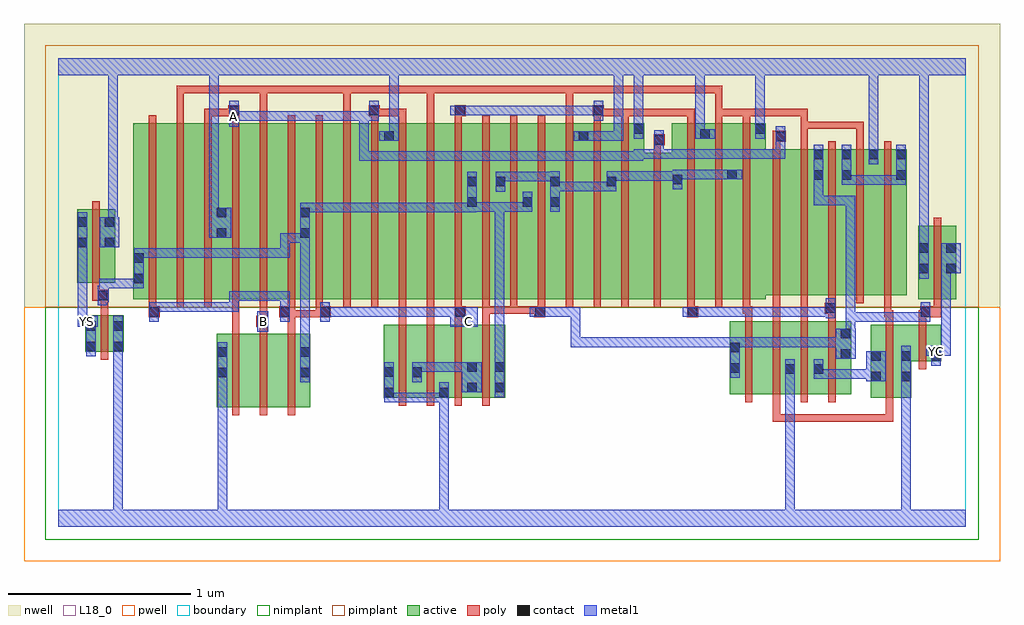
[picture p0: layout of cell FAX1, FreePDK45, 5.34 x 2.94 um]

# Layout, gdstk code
import gdstk
lib = gdstk.Library(unit=1e-6, precision=1e-09)
def R(c, l, rs):  # rectangles x0, y0, x1, y1
    for r in rs: c.add(gdstk.rectangle(r[:2], r[2:], *l))
def A(c, l, x, y, w, h, nx, ny, dx, dy):  # array of equal rectangles
    R(c, l, [(x+i*dx, y+j*dy, x+i*dx+w, y+j*dy+h) for i in range(nx) for j in range(ny)])
active = (1, 0)
pwell = (2, 0)
nwell = (3, 0)
nimplant = (4, 0)
pimplant = (5, 0)
poly = (9, 0)
contact = (10, 0)
metal1 = (11, 0)
L18_0 = (18, 0)
boundary = (235, 0)

fax1 = lib.new_cell('FAX1')
A(fax1, active, 0.59, 1.244, 0.152, 0.96, 4, 1, 0.456, 0)
R(fax1, active, [(0.866,0.654,0.926,1.054), (0.866,0.654,1.046,1.054), (1.046,0.654,1.198,1.054), (1.198,0.654,1.378,1.054), (1.318,0.654,1.378,1.054), (1.778,0.704,1.838,1.104), (1.778,0.704,1.99,1.104), (1.93,0.704,2.138,1.104), (2.078,0.704,2.29,1.104), (2.078,0.704,2.138,0.828), (2.23,0.704,2.29,1.104), (2.23,0.704,2.442,1.104), (2.382,0.704,2.442,1.104), (4.44,0.704,4.5,1.104), (4.44,0.704,4.664,1.104), (4.604,0.704,4.664,1.104), (3.67,0.724,3.73,1.124), (3.67,0.724,3.85,1.124), (3.85,0.724,4.03,1.124), (3.97,0.724,4.03,1.124), (3.97,0.724,4.186,1.124), (4.126,0.724,4.334,1.124), (4.274,0.724,4.334,1.124), (1.93,0.756,1.99,0.874), (4.126,0.756,4.186,0.892), (4.604,0.904,4.828,1.104), (4.768,0.904,4.828,1.104), (0.148,0.956,0.208,1.156), (0.148,0.956,0.356,1.156), (0.296,0.956,0.356,1.156), (0.41,1.244,0.59,2.204), (0.41,1.244,0.47,2.204), (0.742,1.244,0.922,2.204), (0.862,1.244,1.046,2.204), (1.198,1.244,1.378,2.204), (1.318,1.244,1.378,2.204), (1.318,1.244,1.502,2.204), (1.654,1.244,1.838,2.204), (1.778,1.244,1.958,2.204), (1.778,1.244,1.838,2.204), (2.11,1.244,2.29,2.204), (2.23,1.244,2.446,2.204), (2.23,1.244,2.29,2.192), (2.386,1.244,2.594,2.204), (2.386,1.244,2.446,2.192), (2.534,1.244,2.746,2.204), (2.534,1.244,2.594,2.088), (2.686,1.244,2.902,2.204), (2.686,1.244,2.746,2.192), (2.842,1.244,3.054,2.204), (2.994,1.244,3.202,2.204), (3.142,1.244,3.414,2.044), (3.354,1.244,3.566,2.204), (3.506,1.244,3.714,2.204), (3.654,1.244,3.866,2.204), (4.702,1.244,4.762,1.644), (4.702,1.244,4.91,1.644), (4.85,1.244,4.91,1.644), (3.806,1.264,4.002,2.064), (4.002,1.264,4.186,2.064), (4.126,1.264,4.186,2.064), (4.126,1.264,4.338,2.064), (4.278,1.264,4.486,2.064), (4.426,1.264,4.486,2.064), (4.426,1.264,4.638,2.064), (4.578,1.264,4.638,2.064), (4.278,1.302,4.338,2.064), (0.102,1.334,0.162,1.734), (0.102,1.334,0.31,1.734), (0.25,1.334,0.31,1.696), (2.994,1.384,3.054,2.088), (3.506,1.384,3.566,2.204), (0.862,1.39,0.922,2.204), (3.142,1.43,3.202,2.204), (3.354,1.43,3.414,2.204), (2.842,1.49,2.902,2.204), (3.654,1.49,3.714,2.204), (3.806,1.5,3.866,2.204)])
R(fax1, pwell, [(-0.188,-0.188,5.148,1.2)])
R(fax1, nwell, [(-0.188,1.2,5.148,2.748)])
R(fax1, nimplant, [(-0.072,-0.072,5.032,1.2)])
R(fax1, pimplant, [(-0.072,1.2,5.032,2.632)])
A(fax1, poly, 0.95, 0.61, 0.04, 0.488, 3, 1, 0.152, 0)
A(fax1, poly, 1.862, 0.66, 0.04, 0.488, 4, 1, 0.152, 0)
A(fax1, poly, 3.754, 0.68, 0.04, 0.488, 4, 1, 0.152, 0)
A(fax1, poly, 1.862, 1.164, 0.04, 0.076, 6, 1, 0.152, 0)
A(fax1, poly, 0.494, 1.2, 0.04, 1.048, 18, 1, 0.152, 0)
A(fax1, poly, 3.438, 1.2, 0.04, 1.048, 3, 1, 0.152, 0)
A(fax1, poly, 3.906, 1.22, 0.04, 0.888, 5, 1, 0.152, 0)
A(fax1, poly, 0.646, 2.208, 0.04, 0.202, 4, 1, 0.456, 0)
A(fax1, poly, 3.438, 2.208, 0.04, 0.076, 3, 1, 0.152, 0)
R(fax1, poly, [(3.906,0.574,3.946,0.614), (3.906,0.574,3.946,0.72), (3.906,0.574,4.124,0.614), (4.084,0.574,4.124,0.614), (4.084,0.574,4.124,0.614), (4.084,0.574,4.124,0.614), (4.084,0.574,4.296,0.614), (4.256,0.574,4.296,0.614), (4.256,0.574,4.296,0.614), (4.256,0.574,4.296,0.614), (4.256,0.574,4.402,0.614), (4.362,0.574,4.402,0.614), (4.362,0.574,4.402,0.614), (4.362,0.574,4.402,0.614), (4.362,0.574,4.564,0.614), (4.524,0.574,4.564,0.614), (4.524,0.574,4.564,0.614), (4.524,0.574,4.564,0.614), (4.524,0.574,4.564,0.7), (4.524,0.66,4.564,1.148), (4.704,0.86,4.744,1.148), (0.232,0.912,0.272,1.2), (0.95,1.058,0.99,1.204), (1.102,1.058,1.142,1.134), (1.254,1.058,1.294,1.184), (1.082,1.094,1.142,1.154), (1.862,1.108,1.902,1.204), (2.014,1.108,2.054,1.204), (2.166,1.108,2.206,1.184), (2.318,1.108,2.358,1.204), (4.524,1.108,4.564,1.184), (4.704,1.108,4.744,1.184), (1.102,1.114,1.142,1.154), (1.102,1.114,1.142,1.154), (1.102,1.114,1.142,1.24), (3.754,1.128,3.794,1.204), (3.906,1.128,3.946,1.204), (4.058,1.128,4.098,1.224), (4.21,1.128,4.25,1.204), (0.494,1.144,0.554,1.204), (1.208,1.144,1.294,1.204), (1.254,1.144,1.294,1.184), (1.254,1.144,1.294,1.184), (1.254,1.144,1.294,1.184), (1.254,1.144,1.294,1.184), (1.254,1.144,1.446,1.184), (1.406,1.144,1.488,1.204), (2.166,1.144,2.206,1.184), (2.166,1.144,2.206,1.184), (2.166,1.144,2.226,1.204), (2.602,1.144,2.662,1.204), (3.438,1.144,3.498,1.204), (4.514,1.144,4.554,1.184), (4.514,1.144,4.554,1.184), (4.514,1.144,4.554,1.26), (4.514,1.144,4.564,1.184), (4.704,1.144,4.752,1.184), (4.712,1.144,4.752,1.184), (4.712,1.144,4.826,1.204), (0.232,1.16,0.272,1.274), (0.494,1.164,0.534,1.24), (0.95,1.164,0.99,1.24), (0.95,1.164,0.99,1.204), (0.95,1.164,0.99,1.204), (0.95,1.164,0.99,1.204), (1.254,1.164,1.294,1.24), (1.406,1.164,1.446,1.24), (1.862,1.164,1.902,1.204), (1.862,1.164,1.902,1.204), (1.862,1.164,1.902,1.204), (2.014,1.164,2.054,1.204), (2.014,1.164,2.054,1.204), (2.014,1.164,2.054,1.204), (2.318,1.164,2.358,1.204), (2.318,1.164,2.358,1.204), (2.318,1.164,2.358,1.204), (2.318,1.164,2.51,1.204), (2.47,1.164,2.51,1.204), (2.47,1.164,2.51,1.204), (2.47,1.164,2.51,1.204), (2.47,1.164,2.642,1.204), (2.602,1.164,2.642,1.204), (2.602,1.164,2.642,1.204), (3.438,1.164,3.478,1.24), (3.742,1.164,3.782,1.24), (3.742,1.164,3.782,1.204), (3.742,1.164,3.782,1.204), (3.742,1.164,3.794,1.204), (3.906,1.164,3.946,1.204), (3.906,1.164,3.946,1.204), (3.906,1.164,3.946,1.204), (3.906,1.164,3.946,1.26), (4.19,1.164,4.25,1.224), (4.21,1.164,4.25,1.204), (4.21,1.164,4.25,1.204), (4.786,1.164,4.826,1.24), (4.058,1.184,4.098,1.26), (4.058,1.184,4.098,1.224), (4.058,1.184,4.098,1.224), (4.058,1.184,4.098,1.224), (4.21,1.184,4.25,1.26), (3.254,1.2,3.294,2.088), (4.786,1.2,4.826,1.688), (0.186,1.234,0.272,1.294), (0.232,1.234,0.272,1.274), (0.232,1.234,0.272,1.274), (0.186,1.254,0.226,1.33), (0.186,1.29,0.226,1.778), (3.254,2.048,3.294,2.124), (3.906,2.068,3.946,2.144), (4.058,2.068,4.098,2.214), (4.362,2.068,4.402,2.214), (3.254,2.084,3.314,2.144), (3.906,2.104,3.978,2.164), (4.058,2.174,4.098,2.214), (4.058,2.174,4.098,2.214), (4.058,2.174,4.098,2.214), (4.058,2.174,4.296,2.214), (4.058,2.174,4.098,2.284), (4.256,2.174,4.296,2.214), (4.256,2.174,4.296,2.214), (4.256,2.174,4.296,2.214), (4.256,2.174,4.402,2.214), (4.362,2.174,4.402,2.214), (4.362,2.174,4.402,2.214), (4.362,2.174,4.402,2.214), (0.798,2.208,0.838,2.284), (0.95,2.208,0.99,2.284), (1.71,2.208,1.75,2.284), (1.862,2.208,1.902,2.284), (2.166,2.208,2.206,2.284), (2.774,2.208,2.814,2.41), (2.926,2.208,2.966,2.284), (3.078,2.208,3.118,2.284), (0.798,2.244,0.838,2.284), (0.798,2.244,0.97,2.284), (0.93,2.244,0.97,2.284), (0.93,2.244,0.97,2.284), (0.93,2.244,0.99,2.304), (1.696,2.244,1.756,2.304), (1.716,2.244,1.902,2.284), (1.862,2.244,1.902,2.284), (1.862,2.244,1.902,2.284), (1.862,2.244,1.902,2.284), (2.166,2.244,2.226,2.304), (2.922,2.244,2.982,2.304), (2.942,2.244,2.982,2.284), (2.942,2.244,2.982,2.284), (2.942,2.244,3.118,2.284), (3.078,2.244,3.118,2.284), (3.078,2.244,3.224,2.284), (3.184,2.244,3.224,2.284), (3.184,2.244,3.224,2.284), (3.184,2.244,3.224,2.284), (3.184,2.244,3.478,2.284), (3.438,2.244,3.478,2.284), (3.438,2.244,3.478,2.284), (3.438,2.244,3.478,2.284), (3.59,2.244,3.63,2.284), (3.59,2.244,3.63,2.284), (3.59,2.244,3.63,2.284), (3.59,2.244,3.782,2.284), (3.59,2.244,3.63,2.41), (3.742,2.244,3.782,2.284), (3.742,2.244,3.782,2.284), (3.742,2.244,3.782,2.284), (3.742,2.244,3.888,2.284), (3.848,2.244,3.888,2.284), (3.848,2.244,3.888,2.284), (3.848,2.244,3.888,2.284), (3.848,2.244,3.888,2.284), (3.848,2.244,3.888,2.284), (3.848,2.244,4.098,2.284), (4.058,2.244,4.098,2.284), (0.646,2.37,0.686,2.41), (0.646,2.37,0.686,2.41), (0.646,2.37,0.686,2.41), (0.646,2.37,0.686,2.41), (0.646,2.37,0.686,2.41), (0.646,2.37,0.792,2.41), (0.752,2.37,0.792,2.41), (0.752,2.37,0.97,2.41), (0.93,2.37,0.97,2.41), (0.93,2.37,0.97,2.41), (0.93,2.37,0.97,2.41), (0.93,2.37,1.076,2.41), (1.036,2.37,1.076,2.41), (1.036,2.37,1.142,2.41), (1.102,2.37,1.142,2.41), (1.102,2.37,1.142,2.41), (1.102,2.37,1.142,2.41), (1.102,2.37,1.182,2.41), (1.142,2.37,1.182,2.41), (1.142,2.37,1.34,2.41), (1.3,2.37,1.34,2.41), (1.3,2.37,1.34,2.41), (1.3,2.37,1.34,2.41), (1.3,2.37,1.492,2.41), (1.452,2.37,1.492,2.41), (1.452,2.37,1.492,2.41), (1.452,2.37,1.492,2.41), (1.452,2.37,1.598,2.41), (1.558,2.37,1.598,2.41), (1.558,2.37,1.598,2.41), (1.558,2.37,1.598,2.41), (1.558,2.37,1.598,2.41), (1.558,2.37,1.598,2.41), (1.558,2.37,1.704,2.41), (1.664,2.37,1.704,2.41), (1.664,2.37,1.704,2.41), (1.664,2.37,1.704,2.41), (1.664,2.37,1.862,2.41), (1.822,2.37,1.862,2.41), (1.822,2.37,2.054,2.41), (2.014,2.37,2.054,2.41), (2.014,2.37,2.054,2.41), (2.014,2.37,2.054,2.41), (2.014,2.37,2.054,2.41), (2.014,2.37,2.054,2.41), (2.014,2.37,2.16,2.41), (2.12,2.37,2.16,2.41), (2.12,2.37,2.16,2.41), (2.12,2.37,2.16,2.41), (2.12,2.37,2.404,2.41), (2.364,2.37,2.404,2.41), (2.364,2.37,2.404,2.41), (2.364,2.37,2.404,2.41), (2.364,2.37,2.536,2.41), (2.496,2.37,2.536,2.41), (2.496,2.37,2.536,2.41), (2.496,2.37,2.536,2.41), (2.496,2.37,2.664,2.41), (2.624,2.37,2.664,2.41), (2.624,2.37,2.664,2.41), (2.624,2.37,2.664,2.41), (2.624,2.37,2.77,2.41), (2.73,2.37,2.77,2.41), (2.73,2.37,2.77,2.41), (2.73,2.37,2.814,2.41), (2.774,2.37,2.814,2.41), (2.774,2.37,2.814,2.41), (2.774,2.37,2.876,2.41), (2.836,2.37,2.876,2.41), (2.836,2.37,2.92,2.41), (2.88,2.37,2.92,2.41), (2.88,2.37,2.982,2.41), (2.942,2.37,2.982,2.41), (2.942,2.37,3.088,2.41), (3.048,2.37,3.088,2.41), (3.048,2.37,3.088,2.41), (3.048,2.37,3.088,2.41), (3.048,2.37,3.33,2.41), (3.29,2.37,3.33,2.41), (3.29,2.37,3.33,2.41), (3.29,2.37,3.33,2.41), (3.29,2.37,3.436,2.41), (3.396,2.37,3.436,2.41), (3.396,2.37,3.63,2.41), (3.59,2.37,3.63,2.41)])
A(fax1, contact, 4.444, 0.908, 0.052, 0.052, 3, 1, 0.164, 0)
R(fax1, contact, [(1.782,0.708,1.834,0.76), (2.082,0.708,2.134,0.76), (2.234,0.734,2.286,0.786), (2.386,0.734,2.438,0.786), (4.444,0.796,4.496,0.848), (4.608,0.796,4.66,0.848), (0.87,0.816,0.922,0.868), (1.322,0.816,1.374,0.868), (1.934,0.818,1.986,0.87), (1.782,0.82,1.834,0.872), (3.974,0.836,4.026,0.888), (4.13,0.836,4.182,0.888), (3.674,0.842,3.726,0.894), (2.234,0.846,2.286,0.898), (2.386,0.846,2.438,0.898), (4.278,0.918,4.33,0.97), (0.87,0.928,0.922,0.98), (1.322,0.928,1.374,0.98), (3.674,0.954,3.726,1.006), (0.152,0.96,0.204,1.012), (0.3,0.96,0.352,1.012), (4.278,1.03,4.33,1.082), (0.152,1.072,0.204,1.124), (0.3,1.072,0.352,1.124), (1.086,1.098,1.138,1.15), (0.498,1.148,0.55,1.2), (1.212,1.148,1.264,1.2), (1.432,1.148,1.484,1.2), (2.17,1.148,2.222,1.2), (2.606,1.148,2.658,1.2), (3.442,1.148,3.494,1.2), (4.716,1.148,4.768,1.2), (4.194,1.168,4.246,1.22), (0.216,1.238,0.268,1.29), (0.414,1.33,0.466,1.382), (4.706,1.384,4.758,1.436), (4.854,1.384,4.906,1.436), (0.414,1.442,0.466,1.494), (4.706,1.496,4.758,1.548), (4.854,1.496,4.906,1.548), (0.106,1.528,0.158,1.58), (0.254,1.528,0.306,1.58), (0.866,1.58,0.918,1.632), (1.322,1.58,1.374,1.632), (0.106,1.64,0.158,1.692), (0.254,1.64,0.306,1.692), (0.866,1.692,0.918,1.744), (1.322,1.692,1.374,1.744), (2.234,1.748,2.286,1.8), (2.538,1.75,2.59,1.802), (2.69,1.75,2.742,1.802), (2.234,1.86,2.286,1.912), (2.39,1.86,2.442,1.912), (2.69,1.862,2.742,1.914), (2.998,1.862,3.05,1.914), (3.358,1.872,3.41,1.924), (4.13,1.896,4.182,1.948), (4.282,1.896,4.334,1.948), (4.582,1.896,4.634,1.948), (3.658,1.9,3.71,1.952), (4.13,2.008,4.182,2.06), (4.282,2.008,4.334,2.06), (4.43,2.008,4.482,2.06), (4.582,2.008,4.634,2.06), (3.258,2.088,3.31,2.14), (3.922,2.108,3.974,2.16), (1.782,2.11,1.834,2.162), (2.846,2.11,2.898,2.162), (3.51,2.12,3.562,2.172), (3.146,2.148,3.198,2.2), (3.81,2.148,3.862,2.2), (0.934,2.248,0.986,2.3), (1.7,2.248,1.752,2.3), (2.17,2.248,2.222,2.3), (2.926,2.248,2.978,2.3)])
A(fax1, metal1, 3.674, 0.982, 0.162, 0.052, 4, 1, 0.11, 0)
A(fax1, metal1, 3.894, 0.982, 0.052, 0.052, 3, 1, 0.11, 0)
A(fax1, metal1, 3.784, 1.148, 0.052, 0.052, 3, 1, 0.11, 0)
A(fax1, metal1, 3.784, 1.148, 0.162, 0.052, 3, 1, 0.11, 0)
A(fax1, metal1, 0.604, 1.176, 0.162, 0.052, 3, 1, 0.11, 0)
A(fax1, metal1, 2.816, 2, 0.052, 0.052, 3, 1, 0.11, 0)
A(fax1, metal1, 2.816, 2, 0.162, 0.052, 3, 1, 0.11, 0)
A(fax1, metal1, 1.102, 2.22, 0.162, 0.052, 3, 1, 0.11, 0)
R(fax1, metal1, [(0,0,4.96,0.092), (0.3,0.04,0.352,0.092), (0.3,0.04,0.352,0.092), (0.3,0.04,0.352,0.092), (0.3,0.04,0.352,0.092), (0.3,0.04,0.352,0.092), (0.3,0.04,0.352,0.092), (0.3,0.04,0.352,0.092), (0.3,0.04,0.352,0.092), (0.3,0.04,0.352,0.092), (0.3,0.04,0.352,0.092), (0.3,0.04,0.352,0.092), (0.3,0.04,0.352,0.092), (0.3,0.04,0.352,0.092), (0.3,0.04,0.352,0.092), (0.3,0.04,0.352,0.092), (0.3,0.04,0.352,0.092), (0.3,0.04,0.352,0.984), (0.87,0.04,0.922,0.092), (0.87,0.04,0.922,0.092), (0.87,0.04,0.922,0.092), (0.87,0.04,0.922,0.092), (0.87,0.04,0.922,0.092), (0.87,0.04,0.922,0.092), (0.87,0.04,0.922,0.092), (0.87,0.04,0.922,0.092), (0.87,0.04,0.922,0.092), (0.87,0.04,0.922,0.092), (0.87,0.04,0.922,0.092), (0.87,0.04,0.922,0.092), (0.87,0.04,0.922,0.84), (2.082,0.04,2.134,0.092), (2.082,0.04,2.134,0.092), (2.082,0.04,2.134,0.092), (2.082,0.04,2.134,0.092), (2.082,0.04,2.134,0.092), (2.082,0.04,2.134,0.092), (2.082,0.04,2.134,0.092), (2.082,0.04,2.134,0.092), (2.082,0.04,2.134,0.092), (2.082,0.04,2.134,0.092), (2.082,0.04,2.134,0.732), (3.974,0.04,4.026,0.092), (3.974,0.04,4.026,0.092), (3.974,0.04,4.026,0.092), (3.974,0.04,4.026,0.092), (3.974,0.04,4.026,0.092), (3.974,0.04,4.026,0.092), (3.974,0.04,4.026,0.86), (4.608,0.04,4.66,0.092), (4.608,0.04,4.66,0.092), (4.608,0.04,4.66,0.092), (4.608,0.04,4.66,0.092), (4.608,0.04,4.66,0.82), (1.782,0.68,1.834,0.9), (1.782,0.68,1.944,0.732), (1.892,0.68,1.944,0.732), (1.892,0.68,1.944,0.732), (1.892,0.68,1.944,0.732), (1.892,0.68,2.084,0.732), (2.032,0.68,2.084,0.732), (2.032,0.68,2.134,0.732), (2.082,0.68,2.134,0.732), (2.082,0.68,2.134,0.732), (2.082,0.68,2.134,0.788), (2.386,0.706,2.438,0.926), (2.206,0.734,2.314,0.898), (4.608,0.768,4.66,0.82), (4.608,0.768,4.66,0.82), (4.608,0.768,4.66,0.82), (4.608,0.768,4.66,0.82), (4.608,0.768,4.66,0.82), (4.608,0.768,4.66,0.82), (4.608,0.768,4.66,0.82), (4.608,0.768,4.66,0.82), (4.608,0.768,4.66,0.988), (0.87,0.788,0.922,1.008), (1.322,0.788,1.374,1.008), (1.934,0.79,1.986,0.898), (4.416,0.796,4.524,0.96), (3.974,0.808,4.026,0.86), (3.974,0.808,4.026,0.86), (3.974,0.808,4.026,0.86), (3.974,0.808,4.026,0.86), (3.974,0.808,4.026,0.86), (3.974,0.808,4.026,0.86), (3.974,0.808,4.026,0.916), (4.13,0.808,4.182,0.86), (4.13,0.808,4.182,0.86), (4.13,0.808,4.182,0.916), (4.13,0.808,4.356,0.86), (4.304,0.808,4.356,0.86), (4.304,0.808,4.356,0.86), (4.304,0.808,4.356,0.86), (4.304,0.808,4.468,0.86), (3.674,0.814,3.726,1.034), (1.934,0.846,2.054,0.898), (2.002,0.846,2.054,0.898), (2.002,0.846,2.14,0.898), (2.088,0.846,2.14,0.898), (2.088,0.846,2.258,0.898), (2.206,0.846,2.258,0.898), (2.206,0.846,2.258,0.898), (2.386,0.874,2.438,0.926), (2.386,0.874,2.438,0.926), (2.386,0.874,2.438,1.774), (4.772,0.88,4.824,0.988), (4.25,0.918,4.358,1.082), (0.152,0.932,0.204,1.152), (0.3,0.932,0.352,1.152), (4.746,0.934,4.878,0.988), (4.772,0.936,4.824,0.988), (4.826,0.936,4.878,1.436), (4.826,0.936,4.878,0.988), (4.826,0.936,4.878,0.988), (1.322,0.956,1.374,1.604), (2.8,0.982,2.852,1.034), (2.8,0.982,2.978,1.034), (2.8,0.982,2.852,1.2), (2.926,0.982,2.978,1.034), (2.926,0.982,3.088,1.034), (3.036,0.982,3.088,1.034), (3.036,0.982,3.088,1.034), (3.036,0.982,3.088,1.034), (3.036,0.982,3.198,1.034), (3.146,0.982,3.198,1.034), (3.146,0.982,3.198,1.034), (3.146,0.982,3.198,1.034), (3.146,0.982,3.424,1.034), (3.372,0.982,3.424,1.034), (3.372,0.982,3.424,1.034), (3.372,0.982,3.424,1.034), (3.372,0.982,3.548,1.034), (3.496,0.982,3.548,1.034), (3.496,0.982,3.548,1.034), (3.496,0.982,3.548,1.034), (3.496,0.982,3.726,1.034), (3.674,0.982,3.726,1.034), (3.674,0.982,3.726,1.034), (3.784,0.982,3.836,1.034), (3.784,0.982,3.836,1.034), (3.784,0.982,3.836,1.034), (3.894,0.982,3.946,1.034), (3.894,0.982,3.946,1.034), (4.114,0.982,4.166,1.034), (4.114,0.982,4.166,1.034), (4.114,0.982,4.302,1.034), (4.304,1.03,4.356,1.082), (4.304,1.03,4.356,1.082), (4.304,1.03,4.356,1.172), (1.086,1.066,1.146,1.178), (0.106,1.094,0.214,1.152), (2.142,1.094,2.294,1.2), (0.106,1.1,0.158,1.552), (0.152,1.1,0.204,1.152), (0.498,1.12,0.55,1.228), (1.212,1.12,1.264,1.228), (1.432,1.12,1.484,1.228), (4.304,1.12,4.356,1.172), (4.304,1.12,4.356,1.172), (4.304,1.12,4.356,1.172), (4.304,1.12,4.524,1.172), (4.304,1.12,4.356,1.81), (4.472,1.12,4.524,1.172), (4.472,1.12,4.524,1.172), (4.472,1.12,4.524,1.172), (4.472,1.12,4.634,1.172), (4.582,1.12,4.634,1.172), (4.582,1.12,4.634,1.172), (4.582,1.12,4.634,1.172), (4.582,1.12,4.768,1.172), (4.716,1.12,4.768,1.228), (4.194,1.14,4.246,1.248), (1.432,1.148,1.484,1.2), (1.432,1.148,1.484,1.2), (1.432,1.148,1.594,1.2), (1.542,1.148,1.594,1.2), (1.542,1.148,1.594,1.2), (1.542,1.148,1.594,1.2), (1.542,1.148,1.834,1.2), (1.782,1.148,1.834,1.2), (1.782,1.148,1.834,1.2), (1.782,1.148,1.834,1.2), (1.782,1.148,1.944,1.2), (1.892,1.148,1.944,1.2), (1.892,1.148,1.944,1.2), (1.892,1.148,1.944,1.2), (1.892,1.148,2.084,1.2), (2.032,1.148,2.084,1.2), (2.032,1.148,2.14,1.2), (2.088,1.148,2.14,1.2), (2.088,1.148,2.194,1.2), (2.578,1.148,2.686,1.2), (2.634,1.148,2.686,1.2), (2.634,1.148,2.686,1.2), (2.634,1.148,2.852,1.2), (2.8,1.148,2.852,1.2), (2.8,1.148,2.852,1.2), (2.8,1.148,2.852,1.2), (3.414,1.148,3.522,1.2), (3.47,1.148,3.572,1.2), (3.52,1.148,3.572,1.2), (3.52,1.148,3.658,1.2), (3.606,1.148,3.658,1.2), (3.606,1.148,3.686,1.2), (3.634,1.148,3.686,1.2), (3.634,1.148,3.836,1.2), (3.784,1.148,3.836,1.2), (3.784,1.148,3.836,1.2), (4.004,1.148,4.056,1.2), (4.004,1.148,4.056,1.2), (4.114,1.148,4.166,1.2), (4.114,1.148,4.246,1.2), (0.498,1.176,0.656,1.228), (0.604,1.176,0.656,1.228), (0.714,1.176,0.766,1.228), (0.714,1.176,0.766,1.228), (0.714,1.176,0.766,1.228), (0.824,1.176,0.876,1.228), (0.824,1.176,0.876,1.228), (0.824,1.176,0.876,1.228), (0.934,1.176,0.986,1.228), (0.934,1.176,0.986,1.228), (0.934,1.176,0.986,1.288), (1.212,1.176,1.264,1.228), (1.212,1.176,1.264,1.288), (0.216,1.21,0.268,1.318), (0.216,1.228,0.276,1.28), (0.224,1.228,0.276,1.28), (0.224,1.228,0.276,1.354), (0.934,1.236,1.154,1.288), (1.102,1.236,1.154,1.288), (1.102,1.236,1.264,1.288), (0.224,1.302,0.276,1.354), (0.224,1.302,0.466,1.354), (0.414,1.302,0.466,1.522), (4.706,1.356,4.758,1.576), (4.826,1.384,4.934,1.548), (0.414,1.47,0.466,1.522), (0.414,1.47,0.466,1.522), (0.414,1.47,0.576,1.522), (0.524,1.47,0.576,1.522), (0.524,1.47,0.766,1.522), (0.714,1.47,0.766,1.522), (0.714,1.47,0.766,1.522), (0.714,1.47,0.766,1.522), (0.714,1.47,0.876,1.522), (0.824,1.47,0.876,1.522), (0.824,1.47,0.876,1.522), (0.824,1.47,0.876,1.522), (0.824,1.47,0.986,1.522), (0.934,1.47,0.986,1.522), (0.934,1.47,0.986,1.522), (0.934,1.47,0.986,1.522), (0.934,1.47,1.154,1.522), (1.102,1.47,1.154,1.522), (1.102,1.47,1.264,1.522), (1.212,1.47,1.264,1.522), (1.212,1.47,1.264,1.522), (1.212,1.47,1.264,1.604), (0.106,1.5,0.158,1.552), (0.106,1.5,0.158,1.552), (0.106,1.5,0.158,1.72), (4.706,1.524,4.758,1.576), (4.706,1.524,4.758,1.576), (4.706,1.524,4.758,1.576), (4.706,1.524,4.758,1.576), (4.706,1.524,4.758,1.576), (4.706,1.524,4.758,1.576), (4.706,1.524,4.758,1.576), (4.706,1.524,4.758,1.576), (4.706,1.524,4.758,2.52), (0.226,1.528,0.334,1.692), (1.212,1.552,1.374,1.604), (1.322,1.552,1.374,1.604), (1.322,1.552,1.374,1.604), (1.322,1.552,1.374,1.604), (1.322,1.552,1.374,1.604), (1.322,1.552,1.374,1.772), (0.824,1.58,0.946,1.744), (0.272,1.64,0.324,1.692), (0.272,1.64,0.324,1.692), (0.272,1.64,0.324,1.692), (0.272,1.64,0.324,1.692), (0.272,1.64,0.324,1.692), (0.272,1.64,0.324,1.692), (0.272,1.64,0.324,1.692), (0.272,1.64,0.324,1.692), (0.272,1.64,0.324,1.692), (0.272,1.64,0.324,1.692), (0.272,1.64,0.324,1.692), (0.272,1.64,0.324,1.692), (0.272,1.64,0.324,1.692), (0.272,1.64,0.324,1.692), (0.272,1.64,0.324,1.692), (0.272,1.64,0.324,1.692), (0.272,1.64,0.324,2.52), (0.824,1.692,0.876,2.52), (1.322,1.72,1.378,1.772), (1.326,1.72,1.378,1.772), (1.326,1.72,1.484,1.772), (1.432,1.72,1.484,1.772), (1.432,1.72,1.594,1.772), (1.542,1.72,1.594,1.772), (1.542,1.72,1.594,1.772), (1.542,1.72,1.594,1.772), (1.542,1.72,1.834,1.772), (1.782,1.72,1.834,1.772), (1.782,1.72,1.834,1.772), (1.782,1.72,1.834,1.772), (1.782,1.72,1.944,1.772), (1.892,1.72,1.944,1.772), (1.892,1.72,1.944,1.772), (1.892,1.72,1.944,1.772), (1.892,1.72,2.084,1.772), (2.032,1.72,2.084,1.772), (2.032,1.72,2.138,1.772), (2.086,1.72,2.138,1.772), (2.086,1.72,2.286,1.772), (2.234,1.72,2.286,1.772), (2.234,1.72,2.286,1.772), (2.234,1.72,2.286,1.94), (2.234,1.722,2.41,1.774), (2.358,1.722,2.41,1.774), (2.358,1.722,2.438,1.774), (2.386,1.722,2.438,1.774), (2.386,1.722,2.438,1.774), (2.386,1.722,2.438,1.774), (2.386,1.722,2.52,1.774), (2.468,1.722,2.52,1.774), (2.468,1.722,2.59,1.774), (2.538,1.722,2.59,1.83), (2.69,1.722,2.742,1.942), (4.13,1.758,4.356,1.81), (4.13,1.758,4.182,1.92), (4.304,1.758,4.356,1.81), (2.39,1.832,2.442,1.94), (2.69,1.834,2.868,1.886), (2.816,1.834,2.868,1.886), (2.816,1.834,2.868,1.886), (2.816,1.834,2.868,1.886), (2.816,1.834,2.978,1.886), (2.926,1.834,2.978,1.886), (2.926,1.834,3.05,1.886), (2.998,1.834,3.05,1.942), (3.358,1.844,3.41,1.952), (4.13,1.868,4.182,1.92), (4.13,1.868,4.182,2.088), (4.282,1.868,4.334,2.088), (4.282,1.868,4.358,1.92), (4.306,1.868,4.358,1.92), (4.306,1.868,4.468,1.92), (4.416,1.868,4.468,1.92), (4.416,1.868,4.468,1.92), (4.416,1.868,4.468,1.92), (4.416,1.868,4.634,1.92), (4.582,1.868,4.634,2.088), (2.39,1.888,2.52,1.94), (2.468,1.888,2.52,1.94), (2.468,1.888,2.576,1.94), (2.524,1.888,2.576,1.94), (2.524,1.888,2.664,1.94), (2.612,1.888,2.664,1.94), (2.612,1.888,2.742,1.94), (2.998,1.89,3.088,1.942), (3.036,1.89,3.088,1.942), (3.036,1.89,3.198,1.942), (3.146,1.89,3.198,1.942), (3.146,1.89,3.198,1.942), (3.146,1.89,3.198,1.942), (3.146,1.89,3.41,1.942), (3.358,1.9,3.548,1.952), (3.496,1.9,3.548,1.952), (3.496,1.9,3.548,1.952), (3.496,1.9,3.548,1.952), (3.496,1.9,3.682,1.952), (3.63,1.9,3.682,1.952), (3.63,1.9,3.682,1.952), (3.63,1.9,3.738,1.952), (4.43,1.98,4.482,2.088), (1.644,2,1.696,2.052), (1.644,2,1.696,2.052), (1.644,2,1.696,2.052), (1.644,2,1.806,2.052), (1.644,2,1.696,2.272), (1.754,2,1.806,2.052), (1.754,2,1.806,2.052), (1.754,2,1.806,2.052), (1.754,2,1.944,2.052), (1.892,2,1.944,2.052), (1.892,2,1.944,2.052), (1.892,2,1.944,2.052), (1.892,2,2.084,2.052), (2.032,2,2.084,2.052), (2.032,2,2.124,2.052), (2.072,2,2.124,2.052), (2.072,2,2.3,2.052), (2.248,2,2.3,2.052), (2.248,2,2.3,2.052), (2.248,2,2.3,2.052), (2.248,2,2.41,2.052), (2.358,2,2.41,2.052), (2.358,2,2.41,2.052), (2.358,2,2.41,2.052), (2.358,2,2.52,2.052), (2.468,2,2.52,2.052), (2.468,2,2.552,2.052), (2.5,2,2.552,2.052), (2.5,2,2.742,2.052), (2.69,2,2.742,2.052), (2.69,2,2.742,2.052), (2.69,2,2.742,2.052), (2.69,2,2.868,2.052), (2.816,2,2.868,2.052), (2.816,2,2.868,2.052), (3.036,2,3.088,2.052), (3.036,2,3.088,2.052), (3.146,2,3.198,2.062), (3.146,2.01,3.31,2.062), (3.258,2.01,3.42,2.062), (3.258,2.01,3.31,2.168), (3.368,2.01,3.42,2.062), (3.368,2.01,3.42,2.062), (3.368,2.01,3.42,2.062), (3.368,2.01,3.534,2.062), (3.482,2.01,3.534,2.062), (3.482,2.01,3.726,2.062), (3.674,2.01,3.726,2.062), (3.674,2.01,3.726,2.062), (3.674,2.01,3.726,2.062), (3.674,2.01,3.836,2.062), (3.784,2.01,3.836,2.062), (3.784,2.01,3.836,2.062), (3.784,2.01,3.836,2.062), (3.784,2.01,3.974,2.062), (3.922,2.01,3.974,2.188), (4.43,2.036,4.482,2.088), (4.43,2.036,4.482,2.088), (4.43,2.036,4.482,2.088), (4.43,2.036,4.482,2.088), (4.43,2.036,4.482,2.088), (4.43,2.036,4.482,2.088), (4.43,2.036,4.482,2.52), (1.754,2.11,1.862,2.162), (1.81,2.11,1.862,2.162), (1.81,2.11,1.862,2.162), (1.81,2.11,1.862,2.52), (2.818,2.11,2.926,2.162), (2.874,2.11,2.978,2.162), (2.926,2.11,2.978,2.162), (2.926,2.11,3.088,2.162), (3.036,2.11,3.088,2.162), (3.036,2.11,3.088,2.52), (3.146,2.12,3.198,2.228), (3.482,2.12,3.534,2.172), (3.482,2.12,3.534,2.172), (3.482,2.12,3.59,2.172), (3.482,2.12,3.534,2.52), (3.81,2.12,3.862,2.228), (3.146,2.176,3.198,2.52), (3.81,2.176,3.862,2.52), (0.934,2.186,0.986,2.328), (0.934,2.22,1.154,2.272), (1.102,2.22,1.154,2.272), (1.102,2.22,1.154,2.272), (1.102,2.22,1.154,2.272), (1.212,2.22,1.264,2.272), (1.212,2.22,1.264,2.272), (1.212,2.22,1.264,2.272), (1.322,2.22,1.374,2.272), (1.322,2.22,1.374,2.272), (1.322,2.22,1.374,2.272), (1.432,2.22,1.484,2.272), (1.432,2.22,1.642,2.272), (1.59,2.22,1.642,2.272), (1.59,2.22,1.696,2.272), (1.644,2.22,1.696,2.272), (1.644,2.22,1.752,2.272), (1.7,2.22,1.752,2.328), (2.926,2.22,2.978,2.328), (2.142,2.248,2.25,2.3), (2.198,2.248,2.25,2.3), (2.198,2.248,2.25,2.3), (2.198,2.248,2.41,2.3), (2.358,2.248,2.41,2.3), (2.358,2.248,2.41,2.3), (2.358,2.248,2.41,2.3), (2.358,2.248,2.52,2.3), (2.468,2.248,2.52,2.3), (2.468,2.248,2.552,2.3), (2.5,2.248,2.552,2.3), (2.5,2.248,2.742,2.3), (2.69,2.248,2.742,2.3), (2.69,2.248,2.742,2.3), (2.69,2.248,2.742,2.3), (2.69,2.248,2.852,2.3), (2.8,2.248,2.852,2.3), (2.8,2.248,2.852,2.3), (2.8,2.248,2.852,2.3), (2.8,2.248,2.978,2.3), (0,2.468,4.96,2.56), (0.824,2.468,0.876,2.52), (0.824,2.468,0.876,2.52), (0.824,2.468,0.876,2.52), (0.824,2.468,0.876,2.52), (1.81,2.468,1.862,2.52), (1.81,2.468,1.862,2.52), (3.036,2.468,3.088,2.52), (3.036,2.468,3.088,2.52), (3.036,2.468,3.088,2.52), (3.036,2.468,3.088,2.52), (3.146,2.468,3.198,2.52), (3.146,2.468,3.198,2.52), (3.146,2.468,3.198,2.52), (3.146,2.468,3.198,2.52), (3.482,2.468,3.534,2.52), (3.482,2.468,3.534,2.52), (3.81,2.468,3.862,2.52), (3.81,2.468,3.862,2.52), (3.81,2.468,3.862,2.52), (3.81,2.468,3.862,2.52), (4.43,2.468,4.482,2.52), (4.43,2.468,4.482,2.52), (4.706,2.468,4.758,2.52), (4.706,2.468,4.758,2.52), (4.706,2.468,4.758,2.52), (4.706,2.468,4.758,2.52), (4.706,2.468,4.758,2.52), (4.706,2.468,4.758,2.52), (4.706,2.468,4.758,2.52), (4.706,2.468,4.758,2.52)])
A(fax1, L18_0, 3.784, 1.148, 0.052, 0.052, 3, 1, 0.11, 0)
A(fax1, L18_0, 3.784, 1.148, 0.162, 0.052, 3, 1, 0.11, 0)
A(fax1, L18_0, 0.604, 1.176, 0.162, 0.052, 3, 1, 0.11, 0)
A(fax1, L18_0, 2.816, 2, 0.052, 0.052, 3, 1, 0.11, 0)
A(fax1, L18_0, 2.816, 2, 0.162, 0.052, 3, 1, 0.11, 0)
A(fax1, L18_0, 1.102, 2.22, 0.162, 0.052, 3, 1, 0.11, 0)
R(fax1, L18_0, [(0,0,4.96,0.092), (0.3,0.04,0.352,0.092), (0.3,0.04,0.352,0.092), (0.3,0.04,0.352,0.092), (0.3,0.04,0.352,0.092), (0.3,0.04,0.352,0.092), (0.3,0.04,0.352,0.092), (0.3,0.04,0.352,0.092), (0.3,0.04,0.352,0.092), (0.3,0.04,0.352,0.092), (0.3,0.04,0.352,0.092), (0.3,0.04,0.352,0.092), (0.3,0.04,0.352,0.092), (0.3,0.04,0.352,0.092), (0.3,0.04,0.352,0.092), (0.3,0.04,0.352,0.092), (0.3,0.04,0.352,0.092), (0.3,0.04,0.352,0.984), (0.87,0.04,0.922,0.092), (0.87,0.04,0.922,0.092), (0.87,0.04,0.922,0.092), (0.87,0.04,0.922,0.092), (0.87,0.04,0.922,0.092), (0.87,0.04,0.922,0.092), (0.87,0.04,0.922,0.092), (0.87,0.04,0.922,0.092), (0.87,0.04,0.922,0.092), (0.87,0.04,0.922,0.092), (0.87,0.04,0.922,0.092), (0.87,0.04,0.922,0.092), (0.87,0.04,0.922,0.84), (2.082,0.04,2.134,0.092), (2.082,0.04,2.134,0.092), (2.082,0.04,2.134,0.092), (2.082,0.04,2.134,0.092), (2.082,0.04,2.134,0.092), (2.082,0.04,2.134,0.092), (2.082,0.04,2.134,0.092), (2.082,0.04,2.134,0.092), (2.082,0.04,2.134,0.092), (2.082,0.04,2.134,0.092), (2.082,0.04,2.134,0.732), (3.974,0.04,4.026,0.092), (3.974,0.04,4.026,0.092), (3.974,0.04,4.026,0.092), (3.974,0.04,4.026,0.092), (3.974,0.04,4.026,0.092), (3.974,0.04,4.026,0.092), (3.974,0.04,4.026,0.86), (4.608,0.04,4.66,0.092), (4.608,0.04,4.66,0.092), (4.608,0.04,4.66,0.092), (4.608,0.04,4.66,0.092), (4.608,0.04,4.66,0.82), (1.782,0.68,1.834,0.9), (1.782,0.68,1.944,0.732), (1.892,0.68,1.944,0.732), (1.892,0.68,1.944,0.732), (1.892,0.68,1.944,0.732), (1.892,0.68,2.084,0.732), (2.032,0.68,2.084,0.732), (2.032,0.68,2.134,0.732), (2.082,0.68,2.134,0.732), (2.082,0.68,2.134,0.732), (2.082,0.68,2.134,0.788), (4.608,0.768,4.66,0.988), (4.608,0.768,4.66,0.82), (4.608,0.768,4.66,0.82), (4.608,0.768,4.66,0.82), (4.608,0.768,4.66,0.82), (4.608,0.768,4.66,0.82), (4.608,0.768,4.66,0.82), (4.608,0.768,4.66,0.82), (4.608,0.768,4.66,0.82), (0.87,0.788,0.922,1.008), (3.974,0.808,4.026,0.86), (3.974,0.808,4.026,0.86), (3.974,0.808,4.026,0.86), (3.974,0.808,4.026,0.86), (3.974,0.808,4.026,0.86), (3.974,0.808,4.026,0.86), (3.974,0.808,4.026,0.916), (4.772,0.88,4.824,0.988), (0.152,0.932,0.204,1.152), (0.3,0.932,0.352,1.152), (4.746,0.934,4.878,0.988), (4.774,0.934,4.826,0.986), (4.772,0.936,4.824,0.988), (4.826,0.936,4.878,0.988), (4.826,0.936,4.878,0.988), (4.826,0.936,4.878,1.436), (1.086,1.066,1.146,1.178), (0.106,1.094,0.214,1.152), (0.134,1.094,0.186,1.146), (1.094,1.094,1.146,1.146), (2.142,1.094,2.294,1.2), (2.214,1.094,2.266,1.146), (0.106,1.1,0.158,1.552), (0.152,1.1,0.204,1.152), (0.498,1.12,0.55,1.228), (1.212,1.12,1.264,1.228), (1.432,1.12,1.484,1.228), (4.194,1.14,4.246,1.248), (1.432,1.148,1.484,1.2), (1.432,1.148,1.484,1.2), (1.432,1.148,1.594,1.2), (1.542,1.148,1.594,1.2), (1.542,1.148,1.594,1.2), (1.542,1.148,1.594,1.2), (1.542,1.148,1.834,1.2), (1.782,1.148,1.834,1.2), (1.782,1.148,1.834,1.2), (1.782,1.148,1.834,1.2), (1.782,1.148,1.944,1.2), (1.892,1.148,1.944,1.2), (1.892,1.148,1.944,1.2), (1.892,1.148,1.944,1.2), (1.892,1.148,2.084,1.2), (2.032,1.148,2.084,1.2), (2.032,1.148,2.14,1.2), (2.088,1.148,2.14,1.2), (2.088,1.148,2.194,1.2), (3.414,1.148,3.522,1.2), (3.47,1.148,3.572,1.2), (3.52,1.148,3.572,1.2), (3.52,1.148,3.658,1.2), (3.606,1.148,3.658,1.2), (3.606,1.148,3.686,1.2), (3.634,1.148,3.686,1.2), (3.634,1.148,3.836,1.2), (3.784,1.148,3.836,1.2), (3.784,1.148,3.836,1.2), (4.004,1.148,4.056,1.2), (4.004,1.148,4.056,1.2), (4.114,1.148,4.166,1.2), (4.114,1.148,4.246,1.2), (0.498,1.176,0.656,1.228), (0.604,1.176,0.656,1.228), (0.714,1.176,0.766,1.228), (0.714,1.176,0.766,1.228), (0.714,1.176,0.766,1.228), (0.824,1.176,0.876,1.228), (0.824,1.176,0.876,1.228), (0.824,1.176,0.876,1.228), (0.934,1.176,0.986,1.228), (0.934,1.176,0.986,1.228), (0.934,1.176,0.986,1.288), (1.212,1.176,1.264,1.228), (1.212,1.176,1.264,1.288), (0.934,1.236,1.154,1.288), (1.102,1.236,1.154,1.288), (1.102,1.236,1.264,1.288), (4.706,1.356,4.758,1.576), (4.826,1.384,4.934,1.548), (0.106,1.5,0.158,1.72), (0.106,1.5,0.158,1.552), (0.106,1.5,0.158,1.552), (4.706,1.524,4.758,1.576), (4.706,1.524,4.758,1.576), (4.706,1.524,4.758,1.576), (4.706,1.524,4.758,1.576), (4.706,1.524,4.758,1.576), (4.706,1.524,4.758,1.576), (4.706,1.524,4.758,1.576), (4.706,1.524,4.758,1.576), (4.706,1.524,4.758,2.52), (0.226,1.528,0.334,1.692), (0.824,1.58,0.946,1.744), (0.272,1.64,0.324,1.692), (0.272,1.64,0.324,1.692), (0.272,1.64,0.324,1.692), (0.272,1.64,0.324,1.692), (0.272,1.64,0.324,1.692), (0.272,1.64,0.324,1.692), (0.272,1.64,0.324,1.692), (0.272,1.64,0.324,1.692), (0.272,1.64,0.324,1.692), (0.272,1.64,0.324,1.692), (0.272,1.64,0.324,1.692), (0.272,1.64,0.324,1.692), (0.272,1.64,0.324,1.692), (0.272,1.64,0.324,1.692), (0.272,1.64,0.324,1.692), (0.272,1.64,0.324,1.692), (0.272,1.64,0.324,2.52), (0.824,1.692,0.876,2.52), (4.43,1.98,4.482,2.088), (1.644,2,1.696,2.052), (1.644,2,1.696,2.052), (1.644,2,1.696,2.052), (1.644,2,1.806,2.052), (1.644,2,1.696,2.272), (1.754,2,1.806,2.052), (1.754,2,1.806,2.052), (1.754,2,1.806,2.052), (1.754,2,1.944,2.052), (1.892,2,1.944,2.052), (1.892,2,1.944,2.052), (1.892,2,1.944,2.052), (1.892,2,2.084,2.052), (2.032,2,2.084,2.052), (2.032,2,2.124,2.052), (2.072,2,2.124,2.052), (2.072,2,2.3,2.052), (2.248,2,2.3,2.052), (2.248,2,2.3,2.052), (2.248,2,2.3,2.052), (2.248,2,2.41,2.052), (2.358,2,2.41,2.052), (2.358,2,2.41,2.052), (2.358,2,2.41,2.052), (2.358,2,2.52,2.052), (2.468,2,2.52,2.052), (2.468,2,2.552,2.052), (2.5,2,2.552,2.052), (2.5,2,2.742,2.052), (2.69,2,2.742,2.052), (2.69,2,2.742,2.052), (2.69,2,2.742,2.052), (2.69,2,2.868,2.052), (2.816,2,2.868,2.052), (2.816,2,2.868,2.052), (3.036,2,3.088,2.052), (3.036,2,3.088,2.052), (3.146,2,3.198,2.062), (3.146,2.01,3.31,2.062), (3.258,2.01,3.42,2.062), (3.258,2.01,3.31,2.168), (3.368,2.01,3.42,2.062), (3.368,2.01,3.42,2.062), (3.368,2.01,3.42,2.062), (3.368,2.01,3.534,2.062), (3.482,2.01,3.534,2.062), (3.482,2.01,3.726,2.062), (3.674,2.01,3.726,2.062), (3.674,2.01,3.726,2.062), (3.674,2.01,3.726,2.062), (3.674,2.01,3.836,2.062), (3.784,2.01,3.836,2.062), (3.784,2.01,3.836,2.062), (3.784,2.01,3.836,2.062), (3.784,2.01,3.974,2.062), (3.922,2.01,3.974,2.188), (4.43,2.036,4.482,2.088), (4.43,2.036,4.482,2.088), (4.43,2.036,4.482,2.088), (4.43,2.036,4.482,2.088), (4.43,2.036,4.482,2.088), (4.43,2.036,4.482,2.088), (4.43,2.036,4.482,2.52), (1.754,2.11,1.862,2.162), (1.81,2.11,1.862,2.162), (1.81,2.11,1.862,2.162), (1.81,2.11,1.862,2.52), (2.818,2.11,2.926,2.162), (2.874,2.11,2.978,2.162), (2.926,2.11,2.978,2.162), (2.926,2.11,3.088,2.162), (3.036,2.11,3.088,2.162), (3.036,2.11,3.088,2.52), (3.146,2.12,3.198,2.228), (3.482,2.12,3.534,2.172), (3.482,2.12,3.534,2.172), (3.482,2.12,3.59,2.172), (3.482,2.12,3.534,2.52), (3.81,2.12,3.862,2.228), (3.146,2.176,3.198,2.52), (3.81,2.176,3.862,2.52), (0.934,2.186,0.986,2.328), (0.934,2.214,0.986,2.266), (0.934,2.22,1.154,2.272), (1.102,2.22,1.154,2.272), (1.102,2.22,1.154,2.272), (1.102,2.22,1.154,2.272), (1.212,2.22,1.264,2.272), (1.212,2.22,1.264,2.272), (1.212,2.22,1.264,2.272), (1.322,2.22,1.374,2.272), (1.322,2.22,1.374,2.272), (1.322,2.22,1.374,2.272), (1.432,2.22,1.484,2.272), (1.432,2.22,1.642,2.272), (1.59,2.22,1.642,2.272), (1.59,2.22,1.696,2.272), (1.644,2.22,1.696,2.272), (1.644,2.22,1.752,2.272), (1.7,2.22,1.752,2.328), (2.926,2.22,2.978,2.328), (2.142,2.248,2.25,2.3), (2.198,2.248,2.25,2.3), (2.198,2.248,2.25,2.3), (2.198,2.248,2.41,2.3), (2.358,2.248,2.41,2.3), (2.358,2.248,2.41,2.3), (2.358,2.248,2.41,2.3), (2.358,2.248,2.52,2.3), (2.468,2.248,2.52,2.3), (2.468,2.248,2.552,2.3), (2.5,2.248,2.552,2.3), (2.5,2.248,2.742,2.3), (2.69,2.248,2.742,2.3), (2.69,2.248,2.742,2.3), (2.69,2.248,2.742,2.3), (2.69,2.248,2.852,2.3), (2.8,2.248,2.852,2.3), (2.8,2.248,2.852,2.3), (2.8,2.248,2.852,2.3), (2.8,2.248,2.978,2.3), (0,2.468,4.96,2.56), (0.824,2.468,0.876,2.52), (0.824,2.468,0.876,2.52), (0.824,2.468,0.876,2.52), (0.824,2.468,0.876,2.52), (1.81,2.468,1.862,2.52), (1.81,2.468,1.862,2.52), (3.036,2.468,3.088,2.52), (3.036,2.468,3.088,2.52), (3.036,2.468,3.088,2.52), (3.036,2.468,3.088,2.52), (3.146,2.468,3.198,2.52), (3.146,2.468,3.198,2.52), (3.146,2.468,3.198,2.52), (3.146,2.468,3.198,2.52), (3.482,2.468,3.534,2.52), (3.482,2.468,3.534,2.52), (3.81,2.468,3.862,2.52), (3.81,2.468,3.862,2.52), (3.81,2.468,3.862,2.52), (3.81,2.468,3.862,2.52), (4.43,2.468,4.482,2.52), (4.43,2.468,4.482,2.52), (4.706,2.468,4.758,2.52), (4.706,2.468,4.758,2.52), (4.706,2.468,4.758,2.52), (4.706,2.468,4.758,2.52), (4.706,2.468,4.758,2.52), (4.706,2.468,4.758,2.52), (4.706,2.468,4.758,2.52), (4.706,2.468,4.758,2.52)])
R(fax1, boundary, [(0,0,4.96,2.56)])
fax1.add(gdstk.Label('A', (0.96,2.24), layer=11, texttype=0))
fax1.add(gdstk.Label('B', (1.12,1.12), layer=11, texttype=0))
fax1.add(gdstk.Label('C', (2.24,1.12), layer=11, texttype=0))
fax1.add(gdstk.Label('YC', (4.8,0.96), layer=11, texttype=0))
fax1.add(gdstk.Label('YS', (0.16,1.12), layer=11, texttype=0))

lib.write_gds('FAX1.gds')
